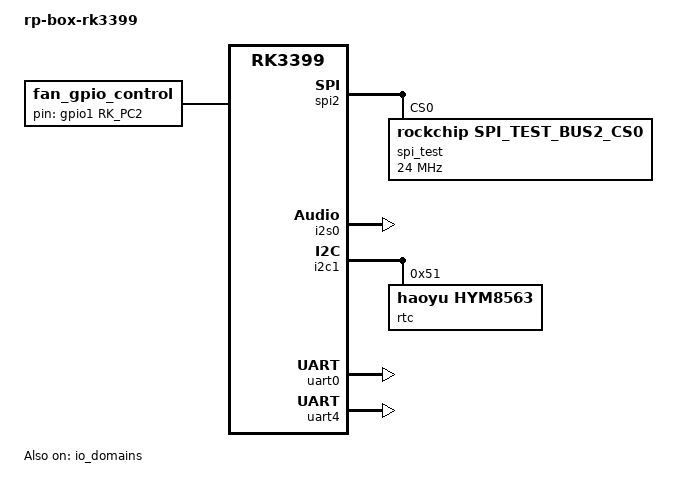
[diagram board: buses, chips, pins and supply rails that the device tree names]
/dts-v1/;

#include "rp-rk3399-board.dtsi"

#include "rp-pmu-rk808.dtsi"
#include "rp-audio-rt5640.dtsi"

#include "rp-usb2-host0.dtsi"
#include "rp-usb2-host1.dtsi"
#include "rp-usb3-otg-typeA.dtsi"
//#include "rp-usb3-otg-typeC.dtsi"
#include "rp-usb3_1-host.dtsi"

#include "rp-gpio-key.dtsi"
#include "rp-adc-key.dtsi"      

#include "rp-gmac.dtsi"    
#include "rp-mipi-ov13850-camera.dtsi"
//#include "rp-hdmiin.dtsi"

#include "rp-wifi-sdio.dtsi"
#include "rp-bt-uart0.dtsi"

#include "rp-sdcard-mmc1.dtsi"

#include "rp-lcd-hdmi.dtsi"
#include "rp-lcd-mipi-5-720-1280-v2-boxTP.dtsi"
//#include "rp-lcd-mipi-5-720-1280-v2.dtsi"
//#include "rp-lcd-mipi-7-720-1280-jc070hd005-v1.dtsi"
//#include "rp-lcd-mipi-10-1200-1920-jc101fh107-v1.dtsi"
//#include "rp-lcd-mipi2lvds-gm8775-singlelvds-10-1024-600.dtsi"
//#include "rp-lcd-mipi2lvds-gm8775-duallvds-1920-1080.dtsi"
//#include "rp-box-lcd-edp-13.3-15.6-1920-1080.dtsi"

/ {
    model = "rp-box-rk3399";
    compatible = "rockchip,rk3399-excavator-linux", "rockchip,rk3399";

    fan_gpio_control {
            compatible = "fan_gpio_control";
            gpio-pin = <&gpio1 RK_PC2 GPIO_ACTIVE_HIGH>;
            thermal-zone = "cpu-thermal";
            threshold-temp = <60000>; //60C
            running-time = <10000>; //10s
            status = "okay";
        };

    rp_power{
        status = "okay";
        compatible = "rp_power";
        rp_not_deep_sleep = <1>;

        //pinctrl-0 = <&rp_power_gpio>;

        /* 
         * #define GPIO_FUNCTION_OUTPUT 0
         * #define GPIO_FUNCTION_INPUT 1
         * #define GPIO_FUNCTION_IRQ 2
         * #define GPIO_FUNCTION_FLASH 3
         * #define GPIO_FUNCTION_OUTPUT_CTRL 4 //output and creat proc ctrl
         * 
         * you can define the gpio function as above
         * on gpio_function = <>;
     *
     *If you want to set the uboot to high level, add the lower properties
     *    regulator_uboot_on    
         */        
        vdd_en { //vdd5v and vdd_io power en
                gpio_num = <&gpio4 RK_PD6 GPIO_ACTIVE_HIGH>;
                gpio_function = <4>;
        regulator_uboot_on;
        };
        
        hub_rst { //usb hub reset pin
                gpio_num = <&gpio1 RK_PD0 GPIO_ACTIVE_HIGH>;
                gpio_function = <4>;
        regulator_uboot_on;
        };
        
        host_en { //usb2.0 and 3.0 host 5v power en
                gpio_num = <&gpio4 RK_PD1 GPIO_ACTIVE_HIGH>;
                gpio_function = <4>;
        regulator_uboot_on;
        };        
        
        //fan { //fan en
        //        gpio_num = <&gpio1 RK_PC2 GPIO_ACTIVE_HIGH>;
        //        gpio_function = <4>;
        //regulator_uboot_on;
        //};
        
        vdd_3g {    //vdd 3G power en
                gpio_num = <&gpio4 RK_PC6 GPIO_ACTIVE_HIGH>;
                gpio_function = <4>;
        regulator_uboot_on;
        };
                
        run_led {    //LED for indicate system is runing
                gpio_num = <&gpio4 RK_PD0 GPIO_ACTIVE_HIGH>;
                gpio_function = <3>;
        regulator_uboot_on;
        
        };
    };

    rp_gpio{
        status = "okay";
        compatible = "rp_gpio";
        gpio3c0 {
            gpio_num = <&gpio3 RK_PC0 GPIO_ACTIVE_LOW>;
            gpio_function = <0>;
            /* gpio_event = <KEY_F14>; */ /** define this property if you want to report
                                            * event such as KEY_F14, but this only works
                                            * in case of gpio_function = <1>;
                                            */
        };
                    
        gpio0a6 {   //ir_rx
            gpio_num = <&gpio0 RK_PA6 GPIO_ACTIVE_LOW>;
            gpio_function = <0>;
        };
        
        gpio1b1 {
            gpio_num = <&gpio1 RK_PB1 GPIO_ACTIVE_LOW>;
            gpio_function = <0>;
        };
        
        gpio1b2 {
            gpio_num = <&gpio1 RK_PB2 GPIO_ACTIVE_LOW>;
            gpio_function = <0>;
        };
        
        gpio4c5 {
            gpio_num = <&gpio4 RK_PC5 GPIO_ACTIVE_LOW>;
            gpio_function = <0>;
        };
                
        gpio4d5 {
            gpio_num = <&gpio4 RK_PD5 GPIO_ACTIVE_LOW>;
            gpio_function = <0>;
        };
        
        gpio1c7 {
            gpio_num = <&gpio1 RK_PC7 GPIO_ACTIVE_LOW>;
            gpio_function = <0>;
        };
        
        gpio0b3 {
            gpio_num = <&gpio0 RK_PB3 GPIO_ACTIVE_LOW>;
            gpio_function = <0>;
        };

        gpio1a2 {
            gpio_num = <&gpio1 RK_PA2 GPIO_ACTIVE_LOW>;
            gpio_function = <0>;
        };
    };
};

&spi2 { 
    status = "okay";
    max-freq = <50000000>;
    spi_test:spi_test@00 {
        status = "okay";
        compatible = "rockchip,spi_test_bus2_cs0";
        id = <2>;
        reg = <0>;
        spi-max-frequency = <24000000>;
        spi-cpha;
        spi-cpol;
    };
};


&io_domains {
        status = "okay";
        bt656-supply = <&vcc_1v8>;              /* bt656_gpio2ab_ms */
        audio-supply = <&vcca1v8_codec>;        /* audio_gpio3d4a_ms */
        sdmmc-supply = <&vcc_sdio>;             /* sdmmc_gpio4b_ms */
        gpio1830-supply = <&vcc_3v0>;           /* gpio1833_gpio4cd_ms */
};

&pmu_io_domains {
        status = "okay";
        pmu1830-supply = <&vcc_1v8>;     //king usb
};

&dsi {
    pinctrl-names="default";
    pinctrl-0=<&pwr_en>;
};

&i2s0 {
    status = "okay";
};

&rk808 {
    rtc {
        /****** disabled rtc-rk808 for use hym8563 */
        status = "disabled";
    };
};

&i2c1 {
    status = "okay";
    rtc@51 {
        status = "okay";
        compatible = "haoyu,hym8563";
        reg = <0x51>;
    };
};

&gmac {
    tx_delay = <0x25>;
    rx_delay = <0x25>;  
};

&uart0 {
        status = "okay";
        //dma-names = "tx", "rx";
        //dmas = <&dmac_peri 0>, <&dmac_peri 1>;
};

//conflicts to ethernet
&uart1 {
        status = "disabled";
        //dma-names = "tx", "rx";
        //dmas = <&dmac_peri 2>, <&dmac_peri 3>;
};

//conflicts to debugger
&uart2 { 
        status = "disabled";
        //dma-names = "tx", "rx";
        //dmas = <&dmac_peri 4>, <&dmac_peri 5>;
};

//conflicts to ethernet
&uart3 {
        status = "disabled";
        //dma-names = "tx", "rx";
        //dmas = <&dmac_peri 6>, <&dmac_peri 7>;
};

&uart4 {
        status = "okay";
        pinctrl-names = "default";
        pinctrl-0 = <&uart4_xfer>;
        dma-names = "tx", "rx";
        dmas = <&dmac_peri 8>, <&dmac_peri 9>;
};

&fiq_debugger {
        rockchip,serial-id = <2>; //uart2
        rockchip,wake-irq = <0>;
        rockchip,irq-mode-enable = <1>;
        compatible = "rockchip,fiq-debugger";
        rockchip,baudrate = <115200>;
        pinctrl-names = "default";
        pinctrl-0 = <&uart2c_xfer>;
};

&pinctrl{
    pwr_5v {
        pwr_en: pwr-en {
            rockchip,pins = <4 30 RK_FUNC_GPIO &pcfg_pull_up>;
        };
    };
};




